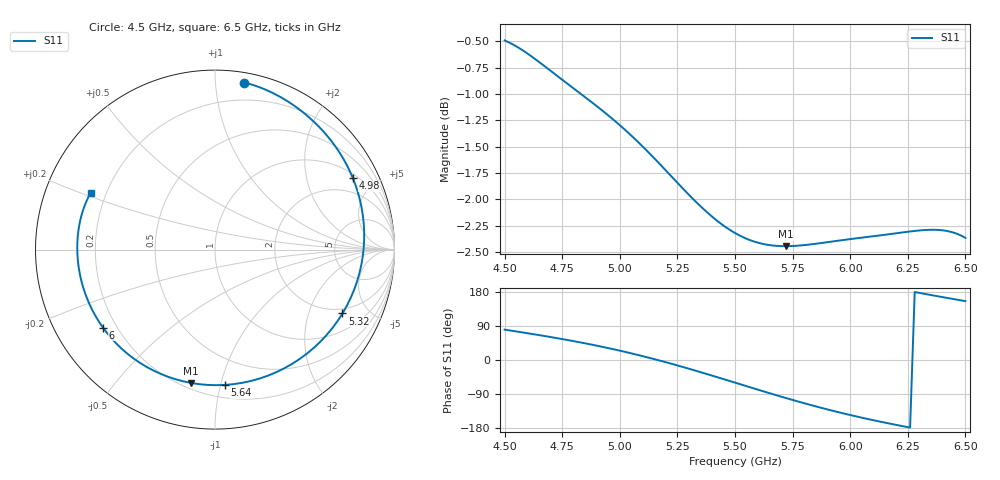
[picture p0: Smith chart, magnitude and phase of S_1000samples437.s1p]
! TOUCHSTONE file generated by CST MICROWAVE STUDIO
! Date and time: Fri Oct 28 04:22:58 2022
! Project name: L.cst
! Parameters = {Di=1.27; Epsilon_r=1.56; InnerDiameter=1.27; Length=2; Lf=10; Lg=60; OuterConductorThickness=0.2921; OuterDiameter=3.6; Wf=3; Wp=41.2; de=1.5; df=6.8; g=0.8; gx=4.32031; gy=1.36362; h=2.34; hf=1.524; px=11.3521; py=9.79685; w=9.7; wx=7.03178; wy=8.43323}
! Header version: 2018
! Port assignment regex: !\s*Touchstone port\s*([0-9]+)\s*=\s*(CST MWS port|CST DS port)\s*([0-9]+|Zmin|Zmax)\s*\(\"(.*)\"\)(\s*mode\s*([0-9]+))?.*
! Touchstone port assignment:
! Touchstone port 1 = CST MWS port 1 ("")
# GHz S DB R 50
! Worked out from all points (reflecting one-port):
!   101 points, 4.5 GHz to 6.5 GHz, reference 50 ohm
!   lowest |S11| = -2.4 dB at 5.72 GHz (marker M1), VSWR 7.16, Z = 11.7 - j40.5 ohm
!   phase of S11 starts at 80 deg and turns -285 deg over the sweep
!   S11 on the Smith chart (normalised r, x): 4.5 GHz: 0.07, +1.19; 4.98 GHz: 1.19, +3.75; 5.32 GHz: 1.75, -3.38; 5.64 GHz: 0.29, -1.03; 6 GHz: 0.15, -0.31; 6.5 GHz: 0.14, +0.21
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4.5  -0.49 80.1
4.62  -0.65 68.6
4.76  -0.88 54.2
4.88  -1.08 40.3
4.98  -1.26 27.4
5  -1.30 24.6
5.08  -1.46 13.1
5.14  -1.59 3.8
5.2  -1.73 -5.9
5.26  -1.86 -16.1
5.32  -2.00 -26.6
5.36  -2.08 -33.8
5.42  -2.20 -44.8
5.5  -2.32 -59.7
5.58  -2.40 -74.7
5.64  -2.43 -85.8
5.72  -2.44 -100.2
5.76  -2.44 -107.2
5.82  -2.43 -117.3
5.88  -2.41 -127.1
5.94  -2.39 -136.4
6  -2.38 -145.2
6.06  -2.36 -153.5
6.12  -2.34 -161.4
6.18  -2.33 -168.9
6.26  -2.30 -178.3
6.38  -2.29 168.2
6.5  -2.36 155.4
